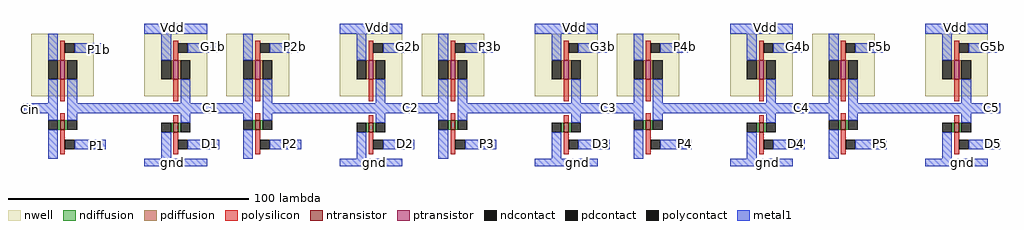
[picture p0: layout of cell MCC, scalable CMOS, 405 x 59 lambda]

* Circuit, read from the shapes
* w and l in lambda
.subckt MCC C1 C2 C3 C4 C5 Cin D1 D2 D3 D4 D5 G1b G2b G3b G4b G5b P1 P1b P2 P2b P3 P3b P4 P4b P5 P5b Vdd gnd
M1 C1 P1 Cin VSUBS nfet w=4 l=2
M2 C1 D1 gnd VSUBS nfet w=4 l=2
M3 C2 P2 C1 VSUBS nfet w=4 l=2
M4 C2 D2 gnd VSUBS nfet w=4 l=2
M5 C3 P3 C2 VSUBS nfet w=4 l=2
M6 C3 D3 gnd VSUBS nfet w=4 l=2
M7 C4 P4 C3 VSUBS nfet w=4 l=2
M8 C4 D4 gnd VSUBS nfet w=4 l=2
M9 C5 P5 C4 VSUBS nfet w=4 l=2
M10 C5 D5 gnd VSUBS nfet w=4 l=2
M11 C1 P1b Cin n1 pfet w=8 l=2
M12 C1 G1b Vdd n2 pfet w=8 l=2
M13 C2 P2b C1 n3 pfet w=8 l=2
M14 C2 G2b Vdd n4 pfet w=8 l=2
M15 C3 P3b C2 n5 pfet w=8 l=2
M16 C3 G3b Vdd n6 pfet w=8 l=2
M17 C4 P4b C3 n7 pfet w=8 l=2
M18 C4 G4b Vdd n8 pfet w=8 l=2
M19 C5 P5b C4 n9 pfet w=8 l=2
M20 C5 G5b Vdd n10 pfet w=8 l=2
.ends

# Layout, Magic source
magic
tech scmos
<< nwell >>
rect 1 4 27 30
rect 48 4 74 30
rect 82 4 108 30
rect 129 4 155 30
rect 163 4 189 30
rect 210 4 236 30
rect 244 4 270 30
rect 291 4 317 30
rect 325 4 351 30
rect 372 4 398 30
<< ntransistor >>
rect 13 -10 15 -6
rect 60 -11 62 -7
rect 94 -10 96 -6
rect 141 -11 143 -7
rect 175 -10 177 -6
rect 222 -11 224 -7
rect 256 -10 258 -6
rect 303 -11 305 -7
rect 337 -10 339 -6
rect 384 -11 386 -7
<< ptransistor >>
rect 13 11 15 19
rect 60 11 62 19
rect 94 11 96 19
rect 141 11 143 19
rect 175 11 177 19
rect 222 11 224 19
rect 256 11 258 19
rect 303 11 305 19
rect 337 11 339 19
rect 384 11 386 19
<< ndiffusion >>
rect 12 -10 13 -6
rect 15 -10 16 -6
rect 59 -11 60 -7
rect 62 -11 63 -7
rect 93 -10 94 -6
rect 96 -10 97 -6
rect 140 -11 141 -7
rect 143 -11 144 -7
rect 174 -10 175 -6
rect 177 -10 178 -6
rect 221 -11 222 -7
rect 224 -11 225 -7
rect 255 -10 256 -6
rect 258 -10 259 -6
rect 302 -11 303 -7
rect 305 -11 306 -7
rect 336 -10 337 -6
rect 339 -10 340 -6
rect 383 -11 384 -7
rect 386 -11 387 -7
<< pdiffusion >>
rect 12 11 13 19
rect 15 11 16 19
rect 59 11 60 19
rect 62 11 63 19
rect 93 11 94 19
rect 96 11 97 19
rect 140 11 141 19
rect 143 11 144 19
rect 174 11 175 19
rect 177 11 178 19
rect 221 11 222 19
rect 224 11 225 19
rect 255 11 256 19
rect 258 11 259 19
rect 302 11 303 19
rect 305 11 306 19
rect 336 11 337 19
rect 339 11 340 19
rect 383 11 384 19
rect 386 11 387 19
<< ndcontact >>
rect 8 -10 12 -6
rect 16 -10 20 -6
rect 55 -11 59 -7
rect 63 -11 67 -7
rect 89 -10 93 -6
rect 97 -10 101 -6
rect 136 -11 140 -7
rect 144 -11 148 -7
rect 170 -10 174 -6
rect 178 -10 182 -6
rect 217 -11 221 -7
rect 225 -11 229 -7
rect 251 -10 255 -6
rect 259 -10 263 -6
rect 298 -11 302 -7
rect 306 -11 310 -7
rect 332 -10 336 -6
rect 340 -10 344 -6
rect 379 -11 383 -7
rect 387 -11 391 -7
<< pdcontact >>
rect 8 11 12 19
rect 16 11 20 19
rect 55 11 59 19
rect 63 11 67 19
rect 89 11 93 19
rect 97 11 101 19
rect 136 11 140 19
rect 144 11 148 19
rect 170 11 174 19
rect 178 11 182 19
rect 217 11 221 19
rect 225 11 229 19
rect 251 11 255 19
rect 259 11 263 19
rect 298 11 302 19
rect 306 11 310 19
rect 332 11 336 19
rect 340 11 344 19
rect 379 11 383 19
rect 387 11 391 19
<< polysilicon >>
rect 13 19 15 27
rect 60 19 62 27
rect 94 19 96 27
rect 141 19 143 27
rect 175 19 177 27
rect 222 19 224 27
rect 256 19 258 27
rect 303 19 305 27
rect 337 19 339 27
rect 384 19 386 27
rect 13 2 15 11
rect 60 2 62 11
rect 94 2 96 11
rect 141 2 143 11
rect 175 2 177 11
rect 222 2 224 11
rect 256 2 258 11
rect 303 2 305 11
rect 337 2 339 11
rect 384 2 386 11
rect 13 -6 15 -3
rect 60 -7 62 -4
rect 94 -6 96 -3
rect 13 -20 15 -10
rect 141 -7 143 -4
rect 175 -6 177 -3
rect 60 -20 62 -11
rect 94 -20 96 -10
rect 222 -7 224 -4
rect 256 -6 258 -3
rect 141 -20 143 -11
rect 175 -20 177 -10
rect 303 -7 305 -4
rect 337 -6 339 -3
rect 222 -20 224 -11
rect 256 -20 258 -10
rect 384 -7 386 -4
rect 303 -20 305 -11
rect 337 -20 339 -10
rect 384 -20 386 -11
<< polycontact >>
rect 15 22 19 26
rect 62 22 66 26
rect 96 22 100 26
rect 143 22 147 26
rect 177 22 181 26
rect 224 22 228 26
rect 258 22 262 26
rect 305 22 309 26
rect 339 22 343 26
rect 386 22 390 26
rect 15 -18 19 -14
rect 62 -18 66 -14
rect 96 -18 100 -14
rect 143 -18 147 -14
rect 177 -18 181 -14
rect 224 -18 228 -14
rect 258 -18 262 -14
rect 305 -18 309 -14
rect 339 -18 343 -14
rect 386 -18 390 -14
<< metal1 >>
rect 48 30 74 34
rect 129 30 155 34
rect 210 30 236 34
rect 291 30 317 34
rect 372 30 398 34
rect 8 19 12 30
rect 19 22 32 26
rect 55 19 59 30
rect 66 22 79 26
rect 89 19 93 30
rect 100 22 113 26
rect 136 19 140 30
rect 147 22 160 26
rect 170 19 174 30
rect 181 22 194 26
rect 217 19 221 30
rect 228 22 241 26
rect 251 19 255 30
rect 262 22 275 26
rect 298 19 302 30
rect 309 22 322 26
rect 332 19 336 30
rect 343 22 356 26
rect 379 19 383 30
rect 390 22 403 26
rect 8 1 12 11
rect -2 -3 12 1
rect 8 -6 12 -3
rect 16 1 20 11
rect 63 1 67 11
rect 89 1 93 11
rect 16 -3 93 1
rect 16 -6 20 -3
rect 63 -7 67 -3
rect 8 -22 12 -10
rect 89 -6 93 -3
rect 97 1 101 11
rect 144 1 148 11
rect 170 1 174 11
rect 97 -3 174 1
rect 97 -6 101 -3
rect 144 -7 148 -3
rect 19 -18 32 -14
rect 55 -22 59 -11
rect 66 -18 79 -14
rect 89 -22 93 -10
rect 170 -6 174 -3
rect 178 1 182 11
rect 225 1 229 11
rect 251 1 255 11
rect 178 -3 255 1
rect 178 -6 182 -3
rect 225 -7 229 -3
rect 100 -18 113 -14
rect 136 -22 140 -11
rect 147 -18 160 -14
rect 170 -22 174 -10
rect 251 -6 255 -3
rect 259 1 263 11
rect 306 1 310 11
rect 332 1 336 11
rect 259 -3 336 1
rect 259 -6 263 -3
rect 306 -7 310 -3
rect 181 -18 194 -14
rect 217 -22 221 -11
rect 228 -18 241 -14
rect 251 -22 255 -10
rect 332 -6 336 -3
rect 340 1 344 11
rect 387 1 391 11
rect 340 -3 403 1
rect 340 -6 344 -3
rect 387 -7 391 -3
rect 262 -18 275 -14
rect 298 -22 302 -11
rect 309 -18 322 -14
rect 332 -22 336 -10
rect 343 -18 356 -14
rect 379 -22 383 -11
rect 390 -18 403 -14
rect 48 -25 74 -22
rect 129 -25 155 -22
rect 210 -25 236 -22
rect 291 -25 317 -22
rect 372 -25 398 -22
<< labels >>
rlabel metal1 0 -2 1 -1 3 Cin
rlabel metal1 29 23 30 24 1 P1b
rlabel metal1 28 -17 29 -16 1 P1
rlabel metal1 76 24 77 25 1 G1b
rlabel metal1 75 -16 76 -15 1 D1
rlabel metal1 75 -1 76 0 1 C1
rlabel metal1 108 -16 109 -15 1 P2
rlabel metal1 110 24 111 25 1 P2b
rlabel metal1 156 -16 157 -15 1 D2
rlabel metal1 157 24 158 25 1 G2b
rlabel metal1 158 -1 159 0 1 C2
rlabel metal1 191 24 192 25 1 P3b
rlabel metal1 190 -16 191 -15 1 P3
rlabel metal1 240 -1 241 0 1 C3
rlabel metal1 238 24 239 25 1 G3b
rlabel metal1 237 -16 238 -15 1 D3
rlabel metal1 272 -16 273 -15 1 P4
rlabel metal1 272 24 273 25 1 P4b
rlabel metal1 320 -1 321 0 1 C4
rlabel metal1 319 24 320 25 1 G4b
rlabel metal1 318 -16 319 -15 1 D4
rlabel metal1 353 24 354 25 1 P5b
rlabel metal1 353 -16 354 -15 1 P5
rlabel metal1 400 24 401 25 7 G5b
rlabel metal1 400 -16 401 -15 7 D5
rlabel metal1 399 -1 400 0 7 C5
rlabel metal1 59 32 60 33 5 Vdd
rlabel metal1 144 32 145 33 5 Vdd
rlabel metal1 226 32 227 33 5 Vdd
rlabel metal1 227 -24 228 -23 1 gnd
rlabel metal1 305 32 306 33 5 Vdd
rlabel metal1 306 -24 307 -23 1 gnd
rlabel metal1 384 32 385 33 5 Vdd
rlabel metal1 387 -24 388 -23 1 gnd
rlabel metal1 143 -24 144 -23 1 gnd
rlabel metal1 59 -24 60 -23 1 gnd
<< end >>
